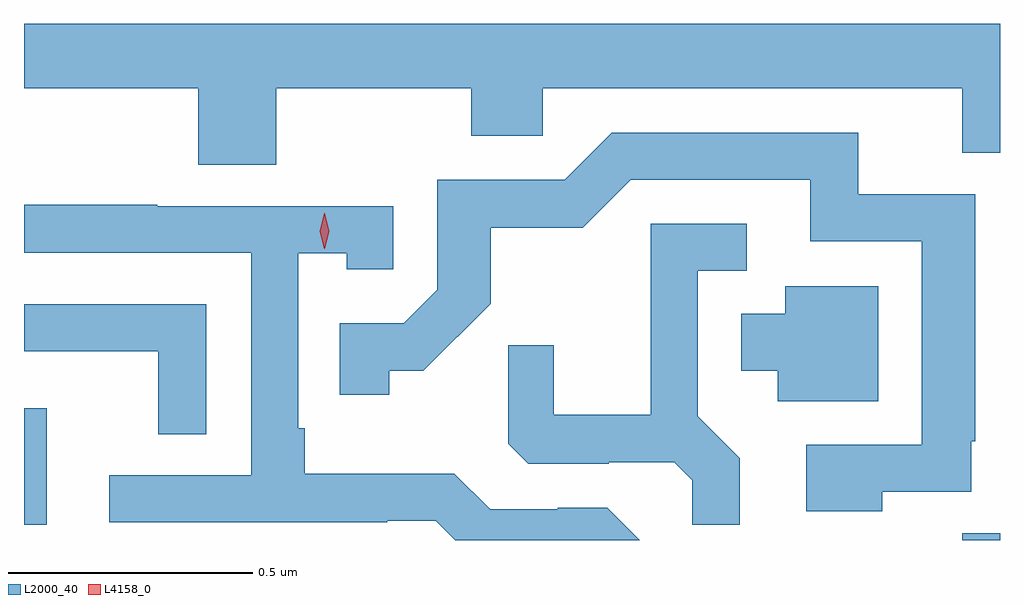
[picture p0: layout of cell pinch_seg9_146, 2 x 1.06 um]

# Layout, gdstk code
import gdstk
lib = gdstk.Library(unit=1e-6, precision=1e-09)
def R(c, l, rs):  # rectangles x0, y0, x1, y1
    for r in rs: c.add(gdstk.rectangle(r[:2], r[2:], *l))
def P(c, l, *ps):  # polygons
    for p in ps: c.add(gdstk.Polygon(p, *l))
L2000_40 = (2000, 40)
L4158_0 = (4158, 0)

pinch_seg9_146 = lib.new_cell('pinch_seg9_146')
R(pinch_seg9_146, L2000_40, [(678.077,1247.441,678.154,1247.456), (676.154,1247.473,676.201,1247.712)])
P(pinch_seg9_146, L2000_40, [(676.671,1248.368),(677.071,1248.368),(677.071,1248.27),(677.217,1248.27),(677.217,1248.368),(678.077,1248.368),(678.077,1248.235),(678.154,1248.235),(678.154,1248.5),(676.154,1248.5),(676.154,1248.368),(676.511,1248.368),(676.511,1248.211),(676.671,1248.211)],
  [(677.913,1247.541),(678.095,1247.541),(678.095,1247.644),(678.103,1247.644),(678.103,1248.15),(677.864,1248.15),(677.864,1248.276),(677.358,1248.276),(677.262,1248.18),(677.001,1248.18),(677.001,1247.955),(676.932,1247.886),(676.801,1247.886),(676.801,1247.739),(676.902,1247.739),(676.902,1247.789),(676.972,1247.789),(677.11,1247.926),(677.11,1248.082),(677.299,1248.082),(677.397,1248.18),(677.765,1248.18),(677.765,1248.054),(677.994,1248.054),(677.994,1247.637),(677.757,1247.637),(677.757,1247.501),(677.913,1247.501)],
  [(677.349,1247.508),(677.248,1247.508),(677.248,1247.505),(677.109,1247.505),(677.036,1247.578),(676.729,1247.578),(676.729,1247.671),(676.716,1247.671),(676.716,1248.029),(676.815,1248.029),(676.815,1247.997),(676.911,1247.997),(676.911,1248.126),(676.427,1248.126),(676.427,1248.129),(676.154,1248.129),(676.154,1248.03),(676.62,1248.03),(676.62,1247.574),(676.329,1247.574),(676.329,1247.478),(676.898,1247.478),(676.898,1247.481),(676.998,1247.481),(677.038,1247.441),(677.416,1247.441)],
  [(677.621,1247.609),(677.535,1247.695),(677.535,1247.994),(677.635,1247.994),(677.635,1248.09),(677.438,1248.09),(677.438,1247.698),(677.24,1247.698),(677.24,1247.841),(677.146,1247.841),(677.146,1247.639),(677.187,1247.598),(677.352,1247.598),(677.352,1247.601),(677.486,1247.601),(677.523,1247.564),(677.523,1247.473),(677.621,1247.473)],
  [(677.905,1247.962),(677.714,1247.962),(677.714,1247.905),(677.624,1247.905),(677.624,1247.789),(677.699,1247.789),(677.699,1247.726),(677.905,1247.726)],
  [(676.527,1247.925),(676.154,1247.925),(676.154,1247.829),(676.429,1247.829),(676.429,1247.659),(676.527,1247.659)])
P(pinch_seg9_146, L4158_0, [(676.769,1248.039),(676.76,1248.075),(676.769,1248.111),(676.77,1248.111),(676.77,1248.111),(676.78,1248.075),(676.77,1248.039),(676.77,1248.039)])

lib.write_gds('pinch_seg9_146.gds')
